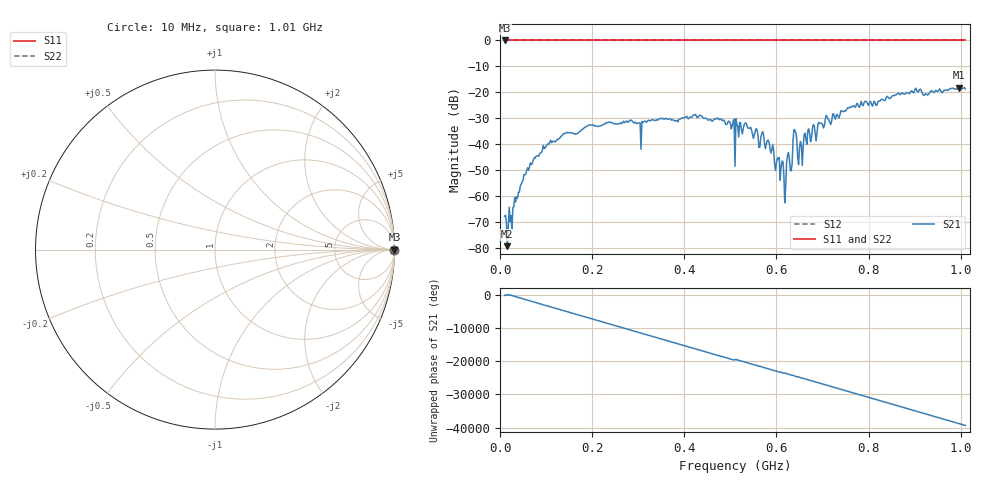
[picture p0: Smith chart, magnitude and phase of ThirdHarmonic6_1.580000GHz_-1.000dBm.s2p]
! 8/16/2025 6:48:25 PM
! C:\ANRITSUVNA\TEMP\TEMP.S2P
! CHANNEL.1
! TR.MEASUREMENT
! RAW.DATA
! RF.CORRECTION.OFF
! AVERAGING.OFF
! IF.BANDWIDTH: 5KHZ
! SWEEPTYPE:  FREQ.SWEEP(Linear)
! Reference Plane Port Info
! PORT:  PORT1  PORT2
! DISTANCE:  0  m  0  m
! TIME:  0  s  0  s
! PHASE.OFFSET:  0  deg.  0  deg.
! LOSS:  0  dB  0  dB
! REF.LOSS:  0  dB  0  dB
! REF.FREQ:  0  Hz  0  Hz
! Power Info
! POWER:  -20  dBm  -20  dBm
! EFF.POWER:  -20  dBm  -20  dBm
! SOURCE.ATTEN:  0  dB  0  dB
! TEST.ATTEN:  0  dB  0  dB
# GHZ S RI R 50.0
! FREQ.GHZ  S11RE  S11IM  S21RE  S21IM  S12RE  S12IM  S22RE  S22IM
!; PortSelection: Port_12
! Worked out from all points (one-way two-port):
!   501 points, 10 MHz to 1.01 GHz, reference 50 ohm
!   highest |S21| = -18.12 dB at 996 MHz (marker M1); lowest = -79.1 dB at 16 MHz (marker M2)
!   lowest |S11| = 0.0 dB at 10 MHz (marker M3)
!   |S11| at or under -10 dB: nowhere
!   |S22| runs from 0.0 to 0.0 dB; largest |S21 - S12| = 1.1
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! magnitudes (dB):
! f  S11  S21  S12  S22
! 10 MHz  0.0  -67.6  0.0  0.0
! 16 MHz  0.0  -79.1  0.0  0.0
! 56 MHz  0.0  -51.3  0.0  0.0
! 76 MHz  0.0  -45.3  0.0  0.0
! 140 MHz  0.0  -35.8  0.0  0.0
! 178 MHz  0.0  -34.2  0.0  0.0
! 344 MHz  0.0  -30.4  0.0  0.0
! 436 MHz  0.0  -28.9  0.0  0.0
! 510 MHz  0.0  -48.4  0.0  0.0
! 534 MHz  0.0  -31.8  0.0  0.0
! 570 MHz  0.0  -35.0  0.0  0.0
! 618 MHz  0.0  -62.5  0.0  0.0
! 626 MHz  0.0  -43.1  0.0  0.0
! 632 MHz  0.0  -50.2  0.0  0.0
! 640 MHz  0.0  -34.5  0.0  0.0
! 652 MHz  0.0  -38.9  0.0  0.0
! 664 MHz  0.0  -38.1  0.0  0.0
! 678 MHz  0.0  -33.7  0.0  0.0
! 758 MHz  0.0  -26.0  0.0  0.0
! 844 MHz  0.0  -22.2  0.0  0.0
! 996 MHz  0.0  -18.1  0.0  0.0
! 1.01 GHz  0.0  -18.7  0.0  0.0
